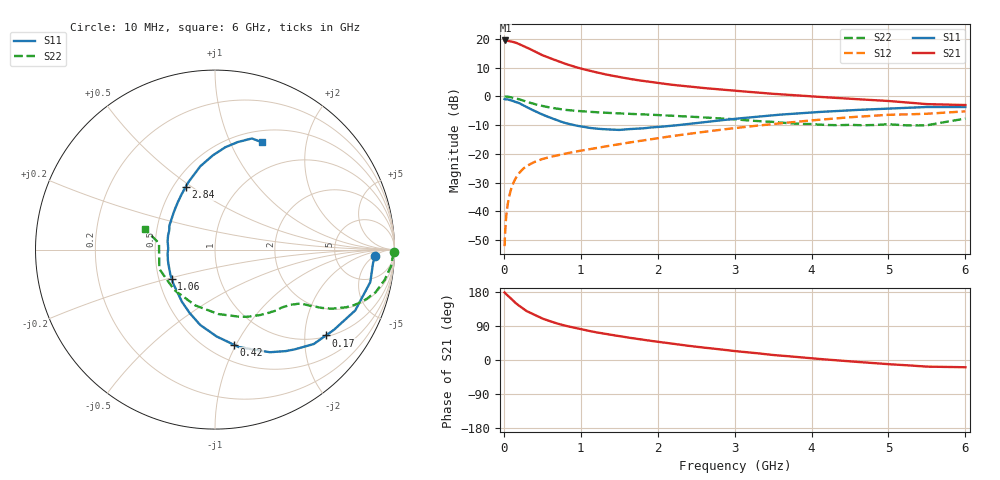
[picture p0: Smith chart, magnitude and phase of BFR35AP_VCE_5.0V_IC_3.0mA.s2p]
! Infineon Technologies  Discrete & RF Semiconductors
! BFR35AP
! VCE =  5.0 V,  IC =  3.0 mA
! Common Emitter S-Parameters:  Nov 2015
# GHz  S  MA  R  50
!  f  S11  S21  S12  S22
! GHz  MAG  ANG  MAG  ANG  MAG  ANG  MAG  ANG
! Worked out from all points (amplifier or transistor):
!   210 points, 10 MHz to 6 GHz, reference 50 ohm
!   highest |S21| = 19.4 dB at 20 MHz (marker M1)
!   |S21| within 3 dB of that: start of sweep to 341.4 MHz
!   unconditionally stable (mu >= 1): 1.021 GHz to 3.413 GHz
!   at 185 MHz: K = 0.27, MSG = 22.7 dB, |S12| = -27.2 dB
!   at 1.52 GHz: K = 1.13, MAG = 9.4 dB, |S12| = -16.5 dB
!   at 6 GHz: K = 0.95, MSG = 1.1 dB, |S12| = -5.2 dB
!   S11 on the Smith chart (normalised r, x): 10 MHz: 16, -6; 170 MHz: 1.04, -2.56; 420 MHz: 0.65, -0.98; 1.06 GHz: 0.58, -0.21; 2.84 GHz: 0.58, +0.47; 6 GHz: 0.64, +1.32
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0.01  0.8936 -2.3  9.263 178.1  0.0025 88.2  0.9967 -0.9
0.02  0.8838 -4.8  9.324 175.7  0.0053 84.9  0.9918 -2.1
0.05  0.8841 -11.8  9.215 170.1  0.0133 84.2  0.9853 -5.3
0.1  0.8518 -23.4  8.94 160.8  0.026 77.5  0.9604 -10.1
0.15  0.7997 -33.9  8.595 150.8  0.037 71.4  0.9257 -14.9
0.17  0.7816 -37.7  8.357 147.8  0.0408 69.6  0.9095 -16.2
0.24  0.7114 -51.4  7.635 137.0  0.0533 63.6  0.8519 -20.6
0.3  0.6483 -61.9  7.044 128.6  0.0619 59.8  0.8006 -23.6
0.42  0.5415 -78.6  5.848 117.1  0.0743 54.8  0.7213 -27.1
0.5  0.4836 -89.0  5.184 109.5  0.0814 53.1  0.6791 -28.6
0.6  0.4279 -101.1  4.597 102.2  0.0883 51.9  0.6379 -29.8
0.7  0.38 -111.9  4.099 95.9  0.0946 51.1  0.6071 -30.8
0.8  0.3441 -122.4  3.666 90.4  0.101 50.8  0.582 -31.5
1.02  0.2969 -142.3  2.989 80.4  0.1149 51.3  0.5492 -33.4
1.06  0.2904 -146.3  2.899 78.8  0.1174 51.4  0.5445 -33.9
1.4  0.2647 -175.5  2.287 66.2  0.14 52.6  0.5124 -37.6
2.02  0.2945 146.2  1.692 47.6  0.1889 52.7  0.4715 -47.0
2.84  0.3853 115.1  1.306 27.4  0.2646 48.7  0.4122 -65.3
3.1  0.4181 108.5  1.22 21.7  0.2902 46.3  0.3883 -72.9
4.1  0.5341 89.8  0.978 2.8  0.3913 35.6  0.3226 -114.5
5.1  0.62 76.7  0.809 -12.2  0.4805 21.4  0.3206 -165.7
6  0.6525 66.4  0.705 -19.1  0.5478 10.4  0.4095 163.5
